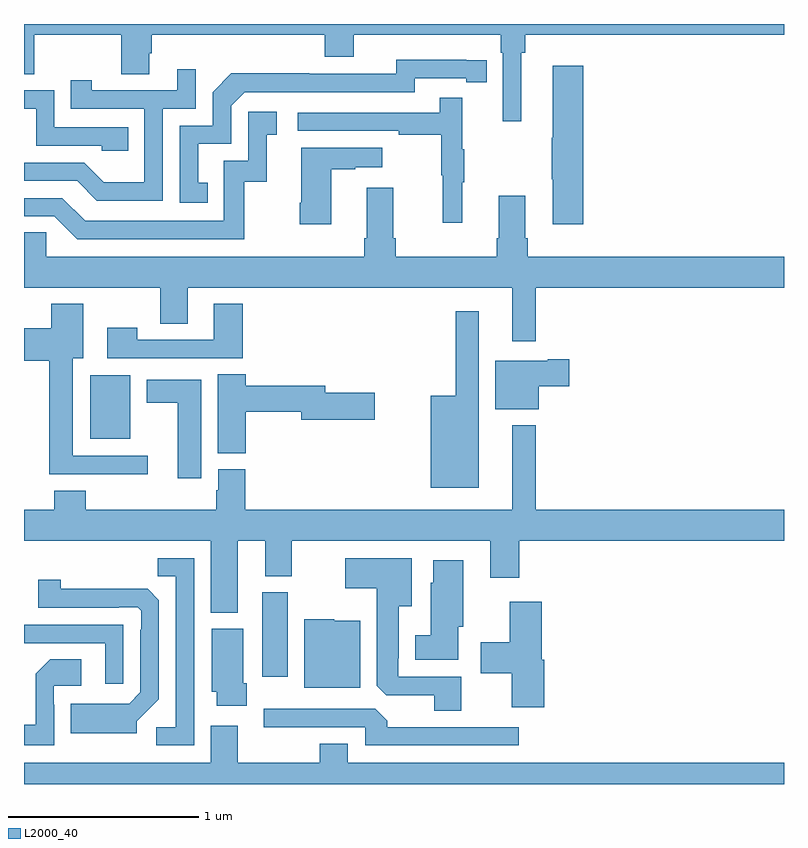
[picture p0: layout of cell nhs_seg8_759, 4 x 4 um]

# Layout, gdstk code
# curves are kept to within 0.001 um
import gdstk
lib = gdstk.Library(unit=1e-6, precision=1e-09)
def R(c, l, rs):  # rectangles x0, y0, x1, y1
    for r in rs: c.add(gdstk.rectangle(r[:2], r[2:], *l))
def P(c, l, *ps):  # polygons
    for p in ps: c.add(gdstk.Polygon(p, *l))
L2000_40 = (2000, 40)

nhs_seg8_759 = lib.new_cell('nhs_seg8_759')
R(nhs_seg8_759, L2000_40, [(162.254,1102.464,162.388,1102.908), (161.348,1103.717,161.56,1104.052)])
P(nhs_seg8_759, L2000_40, [(163.618,1105.748),(163.637,1105.748),(163.637,1105.844),(165,1105.844),(165,1105.9),(161,1105.9),(161,1105.636),(161.055,1105.636),(161.055,1105.844),(161.512,1105.844),(161.512,1105.636),(161.659,1105.636),(161.659,1105.746),(161.672,1105.746),(161.672,1105.844),(162.584,1105.844),(162.584,1105.727),(162.736,1105.727),(162.736,1105.844),(163.508,1105.844),(163.508,1105.748),(163.521,1105.748),(163.521,1105.389),(163.618,1105.389)],
  [(161.966,1105.065),(161.917,1105.065),(161.917,1105.269),(162.09,1105.269),(162.09,1105.47),(162.162,1105.542),(163.056,1105.542),(163.056,1105.614),(163.328,1105.614),(163.328,1105.594),(163.436,1105.594),(163.436,1105.71),(162.96,1105.711),(162.96,1105.638),(162.5,1105.638),(162.5,1105.64),(162.092,1105.64),(161.994,1105.542),(161.994,1105.365),(161.82,1105.365),(161.82,1104.96),(161.966,1104.96)],
  [(163.943,1105.681),(163.784,1105.681),(163.784,1105.301),(163.777,1105.301),(163.777,1105.084),(163.784,1105.084),(163.784,1104.846),(163.943,1104.846)],
  [(161.73,1105.455),(161.904,1105.455),(161.904,1105.663),(161.807,1105.663),(161.807,1105.551),(161.356,1105.551),(161.356,1105.603),(161.245,1105.603),(161.245,1105.455),(161.634,1105.455),(161.634,1105.066),(161.42,1105.066),(161.316,1105.17),(161,1105.17),(161,1105.074),(161.279,1105.074),(161.384,1104.969),(161.73,1104.969)],
  [(161.549,1105.356),(161.16,1105.356),(161.16,1105.551),(161,1105.551),(161,1105.455),(161.064,1105.455),(161.064,1105.26),(161.409,1105.26),(161.409,1105.233),(161.549,1105.233)],
  [(163.307,1105.067),(163.318,1105.067),(163.318,1105.241),(163.307,1105.241),(163.307,1105.513),(163.189,1105.513),(163.189,1105.434),(162.441,1105.434),(162.441,1105.338),(162.973,1105.338),(162.973,1105.318),(163.197,1105.318),(163.197,1105.104),(163.204,1105.104),(163.204,1104.855),(163.307,1104.855)],
  [(162.16,1105.071),(162.278,1105.071),(162.278,1105.317),(162.331,1105.317),(162.331,1105.438),(162.18,1105.438),(162.18,1105.179),(162.051,1105.179),(162.051,1104.864),(161.322,1104.864),(161.202,1104.984),(161,1104.984),(161,1104.888),(161.16,1104.888),(161.28,1104.768),(162.16,1104.768)],
  [(162.616,1105.135),(162.743,1105.135),(162.743,1105.145),(162.886,1105.145),(162.886,1105.249),(162.458,1105.249),(162.458,1104.958),(162.451,1104.958),(162.451,1104.846),(162.616,1104.846)],
  [(163.693,1104.512),(165,1104.512),(165,1104.676),(163.652,1104.676),(163.652,1104.772),(163.639,1104.772),(163.639,1104.997),(163.499,1104.997),(163.499,1104.772),(163.487,1104.772),(163.487,1104.676),(162.956,1104.676),(162.956,1104.772),(162.943,1104.772),(162.943,1105.039),(162.803,1105.039),(162.803,1104.772),(162.791,1104.772),(162.791,1104.676),(161.118,1104.676),(161.118,1104.803),(161,1104.803),(161,1104.512),(161.716,1104.512),(161.716,1104.322),(161.863,1104.322),(161.863,1104.512),(163.571,1104.512),(163.571,1104.231),(163.693,1104.231)],
  [(162.152,1104.427),(161.999,1104.427),(161.999,1104.237),(161.595,1104.237),(161.595,1104.301),(161.439,1104.301),(161.439,1104.141),(162.152,1104.141)],
  [(161.65,1103.628),(161.257,1103.628),(161.257,1104.14),(161.311,1104.14),(161.311,1104.427),(161.144,1104.427),(161.144,1104.298),(161,1104.298),(161,1104.128),(161.132,1104.128),(161.132,1103.531),(161.65,1103.531)],
  [(163.393,1104.388),(163.272,1104.388),(163.272,1103.944),(163.142,1103.944),(163.142,1103.459),(163.393,1103.459)],
  [(163.708,1103.993),(163.87,1103.993),(163.87,1104.135),(163.757,1104.135),(163.757,1104.127),(163.481,1104.127),(163.481,1103.873),(163.708,1103.873)],
  [(162.167,1103.86),(162.458,1103.86),(162.458,1103.818),(162.847,1103.818),(162.847,1103.96),(162.586,1103.96),(162.586,1103.996),(162.167,1103.996),(162.167,1104.056),(162.02,1104.056),(162.02,1103.641),(162.167,1103.641)],
  [(161.932,1104.028),(161.645,1104.028),(161.645,1103.906),(161.81,1103.906),(161.81,1103.508),(161.932,1103.508)],
  [(162.124,1103.18),(162.269,1103.18),(162.269,1102.993),(162.409,1102.993),(162.409,1103.18),(163.454,1103.18),(163.454,1102.986),(163.607,1102.986),(163.607,1103.18),(165,1103.18),(165,1103.344),(163.693,1103.344),(163.693,1103.788),(163.571,1103.788),(163.571,1103.344),(162.164,1103.344),(162.164,1103.556),(162.023,1103.556),(162.023,1103.445),(162.011,1103.445),(162.011,1103.344),(161.324,1103.344),(161.324,1103.443),(161.159,1103.443),(161.159,1103.344),(161,1103.344),(161,1103.18),(161.984,1103.18),(161.984,1102.802),(162.124,1102.802)],
  [(163.3,1102.464),(162.969,1102.464),(162.969,1102.561),(162.973,1102.561),(162.973,1102.835),(163.042,1102.835),(163.042,1103.089),(162.69,1103.089),(162.69,1102.931),(162.857,1102.931),(162.857,1102.417),(162.906,1102.368),(163.16,1102.368),(163.16,1102.285),(163.3,1102.285)],
  [(161.895,1103.088),(161.704,1103.088),(161.704,1102.993),(161.799,1102.993),(161.799,1102.2),(161.697,1102.2),(161.697,1102.104),(161.895,1102.104)],
  [(163.285,1102.728),(163.312,1102.728),(163.312,1103.077),(163.154,1103.077),(163.154,1102.959),(163.142,1102.959),(163.142,1102.684),(163.058,1102.684),(163.058,1102.553),(163.285,1102.553)],
  [(161.593,1102.23),(161.709,1102.346),(161.709,1102.868),(161.65,1102.927),(161.193,1102.928),(161.193,1102.975),(161.074,1102.975),(161.074,1102.827),(161.498,1102.827),(161.498,1102.83),(161.598,1102.83),(161.616,1102.812),(161.616,1102.712),(161.613,1102.712),(161.613,1102.383),(161.553,1102.323),(161.245,1102.323),(161.245,1102.166),(161.593,1102.166)],
  [(163.739,1102.553),(163.724,1102.553),(163.724,1102.858),(163.556,1102.858),(163.556,1102.647),(163.404,1102.647),(163.404,1102.484),(163.568,1102.484),(163.568,1102.305),(163.739,1102.305)],
  [(162.769,1102.759),(162.633,1102.759),(162.633,1102.768),(162.476,1102.768),(162.476,1102.406),(162.769,1102.406)],
  [(161.523,1102.737),(161,1102.737),(161,1102.641),(161.427,1102.641),(161.427,1102.428),(161.523,1102.428)],
  [(162.172,1102.431),(162.154,1102.431),(162.154,1102.717),(161.987,1102.717),(161.987,1102.386),(162.014,1102.386),(162.014,1102.313),(162.172,1102.313)],
  [(161.16,1102.316),(161.157,1102.316),(161.157,1102.416),(161.302,1102.416),(161.302,1102.556),(161.137,1102.556),(161.061,1102.48),(161.061,1102.213),(161,1102.213),(161,1102.104),(161.16,1102.104)],
  [(163.603,1102.2),(162.911,1102.2),(162.911,1102.234),(162.849,1102.296),(162.261,1102.296),(162.261,1102.2),(162.795,1102.2),(162.795,1102.104),(163.603,1102.104)],
  [(165,1102.012),(162.703,1102.012),(162.703,1102.111),(162.556,1102.111),(162.556,1102.012),(162.124,1102.012),(162.124,1102.207),(161.984,1102.207),(161.984,1102.012),(161,1102.012),(161,1101.9),(165,1101.9)])

lib.write_gds('nhs_seg8_759.gds')
